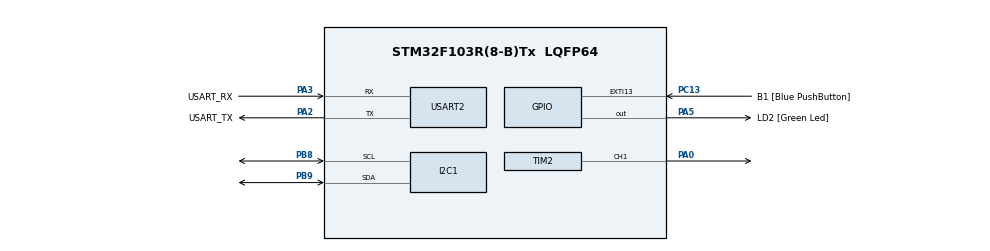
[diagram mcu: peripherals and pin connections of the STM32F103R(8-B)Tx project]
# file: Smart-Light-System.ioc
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Mcu.Family=STM32F1
Mcu.Name=STM32F103R(8-B)Tx
Mcu.Package=LQFP64
NVIC.EXTI15_10_IRQn=true\:0\:0\:false\:false\:true\:true\:true\:true
NVIC.PriorityGroup=NVIC_PRIORITYGROUP_4
NVIC.USART2_IRQn=true\:0\:0\:false\:false\:true\:true\:true\:true
PA0-WKUP.Signal=S_TIM2_CH1_ETR
PA13.GPIO_Label=TMS
PA13.Mode=Serial_Wire
PA13.Signal=SYS_JTMS-SWDIO
PA14.GPIO_Label=TCK
PA14.Mode=Serial_Wire
PA14.Signal=SYS_JTCK-SWCLK
PA2.GPIO_Label=USART_TX
PA2.GPIO_Mode=GPIO_MODE_AF_PP
PA2.GPIO_PuPd=GPIO_NOPULL
PA2.GPIO_Speed=GPIO_SPEED_FREQ_LOW
PA2.Mode=Asynchronous
PA2.Signal=USART2_TX
PA3.GPIO_Label=USART_RX
PA3.GPIO_Mode=GPIO_MODE_AF_PP
PA3.GPIO_PuPd=GPIO_NOPULL
PA3.GPIO_Speed=GPIO_SPEED_FREQ_LOW
PA3.Mode=Asynchronous
PA3.Signal=USART2_RX
PA5.GPIO_Label=LD2 [Green Led]
PA5.GPIO_ModeDefaultOutputPP=GPIO_MODE_OUTPUT_PP
PA5.GPIO_PuPd=GPIO_NOPULL
PA5.GPIO_Speed=GPIO_SPEED_FREQ_LOW
PA5.Signal=GPIO_Output
PB3.GPIO_Label=SWO
PB3.Signal=SYS_JTDO-TRACESWO
PB8.Mode=I2C
PB8.Signal=I2C1_SCL
PB9.Mode=I2C
PB9.Signal=I2C1_SDA
PC13-TAMPER-RTC.GPIO_Label=B1 [Blue PushButton]
PC13-TAMPER-RTC.GPIO_PuPd=GPIO_NOPULL
PC13-TAMPER-RTC.Signal=GPXTI13
PC14-OSC32_IN.Signal=RCC_OSC32_IN
PC15-OSC32_OUT.Signal=RCC_OSC32_OUT
PD0-OSC_IN.Mode=HSE-External-Oscillator
PD0-OSC_IN.Signal=RCC_OSC_IN
PD1-OSC_OUT.Mode=HSE-External-Oscillator
PD1-OSC_OUT.Signal=RCC_OSC_OUT
ProjectManager.HeapSize=0x200
ProjectManager.StackSize=0x400
ProjectManager.TargetToolchain=STM32CubeIDE
RCC.AHBFreq_Value=72000000
RCC.APB1CLKDivider=RCC_HCLK_DIV2
RCC.APB1Freq_Value=36000000
RCC.APB1TimFreq_Value=72000000
RCC.APB2Freq_Value=72000000
RCC.APB2TimFreq_Value=72000000
RCC.HCLKFreq_Value=72000000
RCC.PLLMUL=RCC_PLL_MUL9
RCC.PLLSourceVirtual=RCC_PLLSOURCE_HSE
RCC.RTCClockSelection=RCC_RTCCLKSOURCE_LSE
RCC.SYSCLKFreq_VALUE=72000000
RCC.SYSCLKSource=RCC_SYSCLKSOURCE_PLLCLK
RCC.USBFreq_Value=72000000
SH.S_TIM2_CH1_ETR.0=TIM2_CH1,PWM Generation1 CH1
TIM2.Channel-PWM\ Generation1\ CH1=TIM_CHANNEL_1
TIM2.Period=999
TIM2.Prescaler=71
USART2.VirtualMode=VM_ASYNC
board=NUCLEO-F103RB

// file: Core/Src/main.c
/* USER CODE BEGIN Header */
/**
  ******************************************************************************
  * @file           : main.c
  * @brief          : Main program body
  ******************************************************************************
  * @attention
  *
  * Copyright (c) 2026 STMicroelectronics.
  * All rights reserved.
  *
  * This software is licensed under terms that can be found in the LICENSE file
  * in the root directory of this software component.
  * If no LICENSE file comes with this software, it is provided AS-IS.
  *
  ******************************************************************************
  */
/* USER CODE END Header */
#include "main.h"
#include "tim.h"
#include "usart.h"
#include "gpio.h"
#include "i2c.h"
#include <string.h>
#include <stdio.h>
#include "ssd1306.h"
#include "ssd1306_fonts.h"

/* USER CODE BEGIN PV */
uint8_t bh1750_data[2];
uint16_t lux = 0;
uint32_t lastSensorTime = 0;
uint32_t lastUiTime = 0;
/* USER CODE END PV */

void SystemClock_Config(void);
/* USER CODE BEGIN PFP */
void OLED_ShowStatus(void);
/* USER CODE END PFP */

 uint8_t rxData;
 uint8_t rxIndex = 0;
 uint8_t ledState = 0;
 uint8_t mode = 0; // 0: UART, 1: AUTO
 char rxBuffer[50];
 int brightness = 500;
 int autoBrightness = 0;
 static uint32_t lastAutoUpdate = 0;
 volatile uint8_t rxFlag = 0;
 volatile uint8_t oledUpdateFlag = 0;
 void HAL_UART_RxCpltCallback(UART_HandleTypeDef *huart)
 {
	  if(huart->Instance == USART2)
	  {
		  if(rxData == '\r' || rxData == '\n')
		  {
			  if(rxIndex > 0)
			  {
			  rxBuffer[rxIndex] = '\0';
			  rxIndex = 0;
			  rxFlag = 1;
			  }

		  }
		  else
		  {
			  if(rxIndex < sizeof(rxBuffer) -1)
			  {
				  rxBuffer[rxIndex++] = rxData;
			  }
		  }
		  HAL_UART_Receive_IT(&huart2,&rxData,1);
	  }
 }
int main(void)
{

  /* MCU Configuration--------------------------------------------------------*/

  /* Reset of all peripherals, Initializes the Flash interface and the Systick. */
  HAL_Init();

  /* Configure the system clock */
  SystemClock_Config();

  /* Initialize all configured peripherals */
  MX_GPIO_Init();
  MX_USART2_UART_Init();
  MX_TIM2_Init();
  MX_I2C1_Init();
  HAL_UART_Receive_IT(&huart2,&rxData,1);
  /* USER CODE BEGIN 2 */
  ssd1306_Init();
  OLED_ShowStatus();

  uint8_t cmd = 0x10;   // Continuous H-Resolution Mode
  HAL_I2C_Master_Transmit(&hi2c1, 0x23 << 1, &cmd, 1, 100);
  HAL_Delay(180);
  if (HAL_I2C_IsDeviceReady(&hi2c1, 0x23 << 1, 3, 100) == HAL_OK)
  {
      char msg[] = "BH1750 Connected\r\n";
      HAL_UART_Transmit(&huart2, (uint8_t*)msg, strlen(msg), 100);
  }
  else
  {
      char msg[] = "BH1750 Not Found\r\n";
      HAL_UART_Transmit(&huart2, (uint8_t*)msg, strlen(msg), 100);
  }
  	uint8_t prevButtonState = GPIO_PIN_SET;
    uint32_t lastButtonTime = 0;
  /* USER CODE END 2 */

    /* Infinite loop */
      /* USER CODE BEGIN WHILE */
      while (1)
      {
    	  if (HAL_GetTick() - lastSensorTime >= 100)
    	  {
    		  lastSensorTime = HAL_GetTick();
    		  if (HAL_I2C_Master_Receive(&hi2c1, 0x23 << 1, bh1750_data, 2, 100) == HAL_OK)
    		  {
    			  lux = ((bh1750_data[0] << 8) | bh1750_data[1]) / 1.2;
    			  oledUpdateFlag = 1;
    		  }
    	  }

    	  if (HAL_GetTick() - lastUiTime >= 500)
    	  {
    		  lastUiTime = HAL_GetTick();
    		  if(oledUpdateFlag)
    		  {
    			  oledUpdateFlag = 0;
    			  OLED_ShowStatus();
    		  }
    	  }

    	  if(mode == 1 && ledState == 1)
    	  {
    		  if(lux <= 15)       autoBrightness = 900;
    		  else if(lux <= 35)  autoBrightness = 700;
    		  else if(lux <= 55)  autoBrightness = 500;
    		  else if(lux <= 75)  autoBrightness = 300;
    		  else                autoBrightness = 100;

    		  if(autoBrightness > 999) autoBrightness = 999;
    		  if(autoBrightness < 0)   autoBrightness = 0;

    		  __HAL_TIM_SET_COMPARE(&htim2, TIM_CHANNEL_1, autoBrightness);

    		  if(HAL_GetTick() - lastAutoUpdate > 200)
    		  {
    			  lastAutoUpdate = HAL_GetTick();
    			  oledUpdateFlag = 1;
    		  }
    	  }

    	  if(rxFlag)
    	  {
    		  rxFlag = 0;
    		  if(strcmp(rxBuffer, "on") == 0)
    		  {
    			  ledState = 1;
    			  oledUpdateFlag = 1;
    			  HAL_TIM_PWM_Start(&htim2, TIM_CHANNEL_1);
    			  __HAL_TIM_SET_COMPARE(&htim2, TIM_CHANNEL_1, brightness);
    			  char msg[] = "OK: LED ON\r\n";
    			  HAL_UART_Transmit(&huart2, (uint8_t*)msg, strlen(msg), 100);
    		  }
    		  else if(strcmp(rxBuffer, "off") == 0)
    		  {
    			  ledState = 0;
    			  oledUpdateFlag = 1;
    			  HAL_TIM_PWM_Stop(&htim2, TIM_CHANNEL_1);
    			  char msg[] = "OK: LED OFF\r\n";
    			  HAL_UART_Transmit(&huart2, (uint8_t*)msg, strlen(msg), 100);
    		  }
    		  else if(strncmp(rxBuffer, "bright", 6) == 0)
    		  {
    			  oledUpdateFlag = 1;
    			  sscanf(rxBuffer, "bright %d", &brightness);
    			  if (brightness > 999) brightness = 999;
    			  if (brightness < 0 )  brightness = 0;
    			  if (mode == 0 && ledState)
    			  {
    				  __HAL_TIM_SET_COMPARE(&htim2, TIM_CHANNEL_1, brightness);
    			  }

    			  char msg[50];
    			  sprintf(msg, "OK: Brightness: %d\r\n", brightness);
    			  HAL_UART_Transmit(&huart2, (uint8_t*)msg, strlen(msg), 100);
    		  }
    		  else if(strcmp(rxBuffer, "status") == 0)
    		  {
    			  char msg[100];
    			  sprintf(msg, "LED: %s\r\nMODE: %s\r\nPWM: %d\r\n",
    					  ledState ? "ON" : "OFF",
    					  mode ? "AUTO" : "UART",
    					  mode ? autoBrightness : brightness);
    			  HAL_UART_Transmit(&huart2, (uint8_t*)msg, strlen(msg), 100);
    		  }
    		  else if(strcmp(rxBuffer, "fade") == 0)
    		  {
    			  int i;
    			  mode = 0;
    			  ledState = 1;
    			  brightness = 0;

    			  HAL_TIM_PWM_Start(&htim2, TIM_CHANNEL_1);
    			  for(i=0; i<=999; i++)
    			  {
    				  __HAL_TIM_SET_COMPARE(&htim2, TIM_CHANNEL_1, i);
    				  HAL_Delay(2);
    				  if(i % 100 == 0)
    				  {
    					  brightness = i;
    					  OLED_ShowStatus();
    				  }
    			  }
    			  brightness = 999;
    			  for(i=999; i>=0; i--)
    			  {
    				  __HAL_TIM_SET_COMPARE(&htim2, TIM_CHANNEL_1, i);
    				  HAL_Delay(2);
    				  if(i % 100 == 0)
    				  {
    					  brightness = i;
    					  OLED_ShowStatus();
    				  }
    			  }
    			  brightness = 0;
    			  ledState = 0;
    			  oledUpdateFlag = 1;
    			  HAL_TIM_PWM_Stop(&htim2, TIM_CHANNEL_1);
    			  char msg[] = "OK: Fade Complete\r\n";
    			  HAL_UART_Transmit(&huart2, (uint8_t*)msg, strlen(msg), 100);
    		  }
    		  else if(strcmp(rxBuffer, "help") == 0)
    		  		  {
    		  		  			  char msg[] =
    		  		  			  "======== Smart Light System ========\r\n"
    		  		  			  "on               : LED ON\r\n"
    		  		  			  "off              : LED OFF\r\n"
    		  		  			  "bright <0-999>   : Set Brightness\r\n"
    		  		  			  "status           : Show LED Status\r\n"
    		  		  			  "fade             : Fade In/Out Effect\r\n"
    		  		  			  "help             : Show Command List\r\n";
    			  HAL_UART_Transmit(&huart2, (uint8_t*)msg, strlen(msg), 100);
    		  }
    		  else
    		  {
    			  char msg[] = "ERROR: Unknown Command\r\n";
    			  HAL_UART_Transmit(&huart2, (uint8_t*)msg, strlen(msg), 100);
    		  }
    	  }

    	  uint8_t currentButtonState = HAL_GPIO_ReadPin(GPIOC, GPIO_PIN_13);
    	  if (currentButtonState == GPIO_PIN_RESET && prevButtonState == GPIO_PIN_SET)
    	  {
    		  if (HAL_GetTick() - lastButtonTime >= 200)
    		  {
    			  lastButtonTime = HAL_GetTick();
    			  mode = !mode;
    			  oledUpdateFlag = 1;

    			  if(mode == 1)
    			  {
    				  char msg[] = "MODE: AUTO\r\n";
    				  HAL_UART_Transmit(&huart2, (uint8_t*)msg, strlen(msg), 100);
    			  }
    			  else
    			  {
    				  char msg[] = "MODE: UART\r\n";
    				  HAL_UART_Transmit(&huart2, (uint8_t*)msg, strlen(msg), 100);
    			  }
    		  }
    	  }
    	  prevButtonState = currentButtonState;
      }
      /* USER CODE END 3 */
    }

    /**
      * @brief System Clock Configuration
      * @retval None
      */
    void SystemClock_Config(void)
    {
      RCC_OscInitTypeDef RCC_OscInitStruct = {0};
      RCC_ClkInitTypeDef RCC_ClkInitStruct = {0};

      RCC_OscInitStruct.OscillatorType = RCC_OSCILLATORTYPE_HSE;
      RCC_OscInitStruct.HSEState = RCC_HSE_ON;
      RCC_OscInitStruct.HSEPredivValue = RCC_HSE_PREDIV_DIV1;
      RCC_OscInitStruct.HSIState = RCC_HSI_ON;
      RCC_OscInitStruct.PLL.PLLState = RCC_PLL_ON;
      RCC_OscInitStruct.PLL.PLLSource = RCC_PLLSOURCE_HSE;
      RCC_OscInitStruct.PLL.PLLMUL = RCC_PLL_MUL9;
      if (HAL_RCC_OscConfig(&RCC_OscInitStruct) != HAL_OK)
      {
        Error_Handler();
      }

      RCC_ClkInitStruct.ClockType = RCC_CLOCKTYPE_HCLK|RCC_CLOCKTYPE_SYSCLK
                                  |RCC_CLOCKTYPE_PCLK1|RCC_CLOCKTYPE_PCLK2;
      RCC_ClkInitStruct.SYSCLKSource = RCC_SYSCLKSOURCE_PLLCLK;
      RCC_ClkInitStruct.AHBCLKDivider = RCC_SYSCLK_DIV1;
      RCC_ClkInitStruct.APB1CLKDivider = RCC_HCLK_DIV2;
      RCC_ClkInitStruct.APB2CLKDivider = RCC_HCLK_DIV1;
      if (HAL_RCC_ClockConfig(&RCC_ClkInitStruct, FLASH_LATENCY_2) != HAL_OK)
      {
        Error_Handler();
      }
    }

    /* USER CODE BEGIN 4 */
    void OLED_ShowStatus(void)
    {
        char line1[20];
        char line2[20];
        char line3[20];
        char line4[20];
        ssd1306_Fill(Black);
        sprintf(line1, "LED : %s", ledState ? "ON" : "OFF");
        sprintf(line2, "PWM : %d", ledState ? (mode ? autoBrightness : brightness) : 0);
        sprintf(line3, "MODE: %s", mode ? "AUTO" : "UART");
        sprintf(line4, "LUX : %d", lux);

        ssd1306_SetCursor(0, 0);
        ssd1306_WriteString(line1, Font_7x10, White);

        ssd1306_SetCursor(0, 16);
        ssd1306_WriteString(line2, Font_7x10, White);

        ssd1306_SetCursor(0, 32);
        ssd1306_WriteString(line3, Font_7x10, White);

        ssd1306_SetCursor(0, 48);
        ssd1306_WriteString(line4, Font_7x10, White);

        ssd1306_UpdateScreen();
    }
    /* USER CODE END 4 */

    /**
      * @brief  This function is executed in case of error occurrence.
      * @retval None
      */
    void Error_Handler(void)
    {
      __disable_irq();
      while (1)
      {
      }
    }
    #ifdef USE_FULL_ASSERT
    void assert_failed(uint8_t *file, uint32_t line)
    {
    }
    #endif /* USE_FULL_ASSERT */
